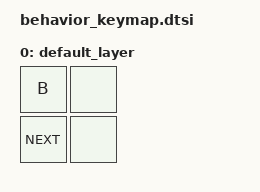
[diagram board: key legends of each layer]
#include <dt-bindings/zmk/keys.h>
#include <behaviors.dtsi>
#include <dt-bindings/zmk/kscan-mock.h>

/ {
	keymap {
		compatible = "zmk,keymap";
		label ="Default keymap";

		default_layer {
			bindings = <
				&kp B &none
				&kp C_NEXT &none>;
		};
	};
};
